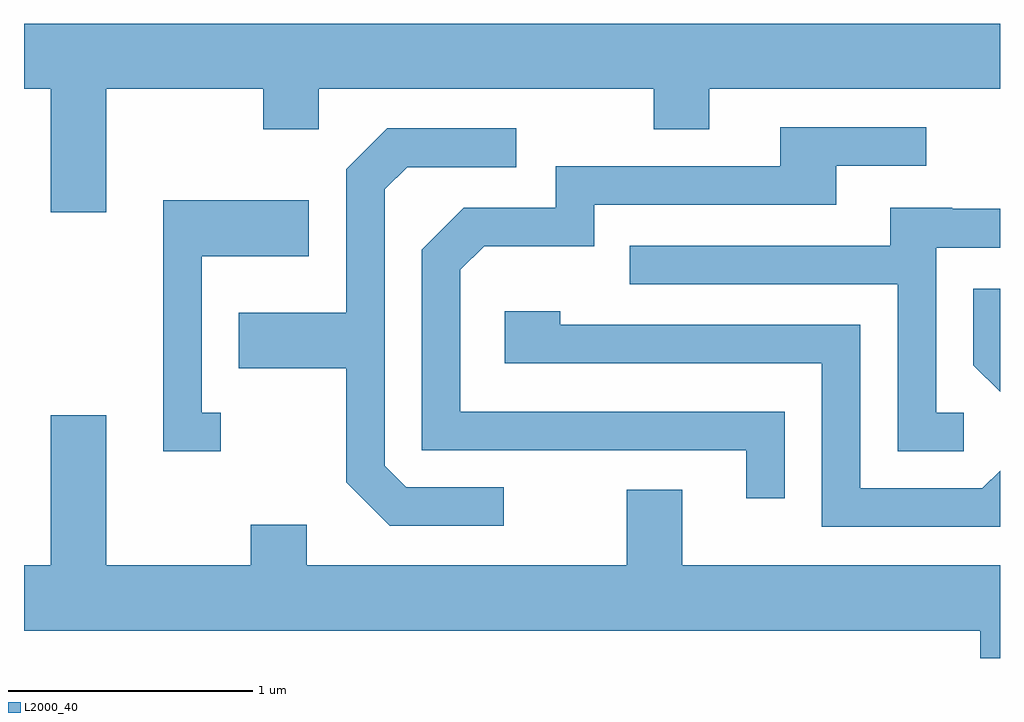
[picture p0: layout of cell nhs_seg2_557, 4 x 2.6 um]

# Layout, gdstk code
import gdstk
lib = gdstk.Library(unit=1e-6, precision=1e-09)
def P(c, l, *ps):  # polygons
    for p in ps: c.add(gdstk.Polygon(p, *l))
L2000_40 = (2000, 40)

nhs_seg2_557 = lib.new_cell('nhs_seg2_557')
P(nhs_seg2_557, L2000_40, [(201.949,1006.136),(202.591,1006.136),(202.591,1005.971),(202.819,1005.971),(202.819,1006.136),(204.191,1006.136),(204.191,1005.971),(204.419,1005.971),(204.419,1006.136),(205.611,1006.136),(205.611,1006.404),(201.611,1006.404),(201.611,1006.136),(201.721,1006.136),(201.721,1005.631),(201.949,1005.631)],
  [(204.729,1004.814),(203.399,1004.814),(203.399,1005.394),(203.497,1005.491),(203.949,1005.491),(203.949,1005.661),(204.939,1005.661),(204.939,1005.821),(205.308,1005.821),(205.308,1005.979),(204.711,1005.979),(204.711,1005.819),(203.791,1005.819),(203.791,1005.649),(203.414,1005.649),(203.241,1005.477),(203.241,1004.656),(204.571,1004.656),(204.571,1004.458),(204.729,1004.458)],
  [(203.578,1004.504),(203.177,1004.504),(203.089,1004.592),(203.089,1005.724),(203.182,1005.816),(203.628,1005.816),(203.628,1005.974),(203.099,1005.974),(202.931,1005.807),(202.931,1005.219),(202.491,1005.219),(202.491,1004.991),(202.931,1004.991),(202.931,1004.524),(203.109,1004.346),(203.578,1004.346)],
  [(202.418,1004.809),(202.339,1004.809),(202.339,1005.451),(202.779,1005.451),(202.779,1005.679),(202.181,1005.679),(202.181,1004.651),(202.418,1004.651)],
  [(205.463,1004.809),(205.349,1004.809),(205.349,1005.486),(205.611,1005.486),(205.611,1005.644),(205.415,1005.644),(205.415,1005.649),(205.161,1005.649),(205.161,1005.494),(204.093,1005.494),(204.093,1005.336),(205.191,1005.336),(205.191,1004.651),(205.463,1004.651)],
  [(205.611,1005.318),(205.501,1005.318),(205.501,1005.004),(205.611,1004.894)],
  [(205.611,1004.571),(205.539,1004.499),(205.039,1004.499),(205.039,1005.169),(203.809,1005.169),(203.809,1005.224),(203.581,1005.224),(203.581,1005.011),(204.881,1005.011),(204.881,1004.341),(205.611,1004.341)],
  [(205.611,1004.184),(204.309,1004.184),(204.309,1004.494),(204.081,1004.494),(204.081,1004.184),(202.769,1004.184),(202.769,1004.349),(202.541,1004.349),(202.541,1004.184),(201.949,1004.184),(201.949,1004.799),(201.721,1004.799),(201.721,1004.184),(201.611,1004.184),(201.611,1003.916),(205.531,1003.916),(205.531,1003.802),(205.611,1003.802)])

lib.write_gds('nhs_seg2_557.gds')
